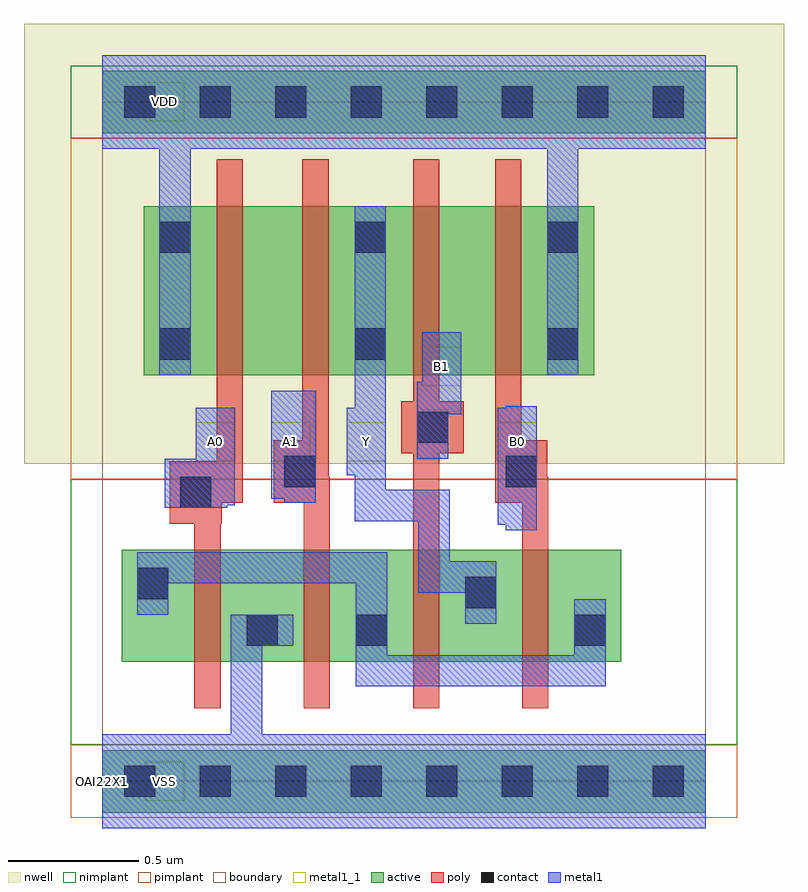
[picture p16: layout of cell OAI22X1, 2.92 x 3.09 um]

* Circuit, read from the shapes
.subckt OAI22X1 A0 A1 B0 B1 VDD VSS Y
M1 VSS A0 n1 VSS nfet w=0.43u l=0.1u
M2 n1 A1 VSS VSS nfet w=0.43u l=0.1u
M3 Y B1 n1 VSS nfet w=0.43u l=0.1u
M4 n1 B0 Y VSS nfet w=0.43u l=0.1u
M5 n2 A0 VDD VDD pfet w=0.65u l=0.1u
M6 Y A1 n2 VDD pfet w=0.65u l=0.1u
M7 n3 B1 Y VDD pfet w=0.65u l=0.1u
M8 VDD B0 n3 VDD pfet w=0.65u l=0.1u
.ends

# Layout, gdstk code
import gdstk
lib = gdstk.Library(unit=1e-6, precision=5e-10)
def R(c, l, rs):  # rectangles x0, y0, x1, y1
    for r in rs: c.add(gdstk.rectangle(r[:2], r[2:], *l))
def A(c, l, x, y, w, h, nx, ny, dx, dy):  # array of equal rectangles
    R(c, l, [(x+i*dx, y+j*dy, x+i*dx+w, y+j*dy+h) for i in range(nx) for j in range(ny)])
active = (1, 0)
nwell = (2, 0)
poly = (3, 0)
nimplant = (4, 0)
pimplant = (5, 0)
contact = (6, 0)
metal1 = (7, 0)
metal1_1 = (7, 1)
boundary = (62, 0)

oai22x1 = lib.new_cell('OAI22X1')
R(oai22x1, active, [(0,-0.12,2.32,0.12), (0.075,0.46,1.995,0.89), (0.16,1.56,1.89,2.21), (0,2.49,2.32,2.73)])
R(oai22x1, nwell, [(-0.3,1.22,2.62,2.91)])
R(oai22x1, poly, [(0.355,0.28,0.455,0.99), (0.775,0.28,0.875,1.07), (1.195,0.28,1.295,1.26), (1.615,0.28,1.715,1.07), (0.26,0.99,0.46,1.07), (0.26,1.07,0.54,1.23), (0.66,1.07,0.875,1.17), (1.51,1.07,1.715,1.17), (0.66,1.17,0.87,1.31), (1.51,1.17,1.71,1.31), (0.44,1.23,0.54,2.39), (1.15,1.26,1.39,1.46), (0.77,1.31,0.87,2.39), (1.51,1.31,1.61,2.39), (1.195,1.46,1.295,2.39)])
R(oai22x1, nimplant, [(-0.12,0.14,2.44,1.16), (-0.12,2.47,2.44,2.75)])
R(oai22x1, pimplant, [(-0.12,-0.14,2.44,0.14), (-0.12,1.16,2.44,2.47)])
A(oai22x1, contact, 0.085, -0.06, 0.12, 0.12, 8, 2, 0.29, 2.61)
R(oai22x1, contact, [(0.555,0.52,0.675,0.64), (0.975,0.52,1.095,0.64), (1.815,0.52,1.935,0.64), (1.395,0.665,1.515,0.785), (0.135,0.7,0.255,0.82), (0.3,1.05,0.42,1.17), (0.7,1.13,0.82,1.25), (1.55,1.13,1.67,1.25), (1.21,1.3,1.33,1.42), (0.22,1.62,0.34,1.74), (0.97,1.62,1.09,1.74), (1.71,1.62,1.83,1.74), (0.22,2.03,0.34,2.15), (0.97,2.03,1.09,2.15), (1.71,2.03,1.83,2.15)])
R(oai22x1, metal1, [(0,-0.18,2.32,0.18), (0.495,0.18,0.615,0.52), (0.975,0.365,1.935,0.485), (0.975,0.485,1.095,0.76), (1.815,0.485,1.935,0.7), (0.495,0.52,0.735,0.64), (1.395,0.605,1.515,0.725), (0.135,0.64,0.255,0.76), (1.215,0.725,1.515,0.845), (0.135,0.76,1.095,0.88), (1.215,0.845,1.335,1), (1.55,0.965,1.67,0.985), (1.52,0.985,1.67,1.435), (0.97,1,1.335,1.12), (0.24,1.05,0.48,1.06), (0.24,1.06,0.51,1.24), (0.7,1.07,0.82,1.085), (0.65,1.085,0.82,1.5), (0.97,1.12,1.09,1.175), (0.94,1.175,1.09,1.435), (0.36,1.24,0.51,1.435), (1.21,1.24,1.33,1.41), (1.21,1.41,1.38,1.535), (0.97,1.435,1.09,2.21), (1.55,1.435,1.67,1.44), (1.23,1.535,1.38,1.725), (0.22,1.56,0.34,2.43), (1.71,1.56,1.83,2.43), (0,2.43,2.32,2.79)])
A(oai22x1, metal1_1, 0.36, 1.23, 0.15, 0.15, 3, 1, 0.29, 0)
R(oai22x1, metal1_1, [(0.165,-0.075,0.315,0.075), (1.52,1.23,1.67,1.38), (1.23,1.52,1.38,1.67), (0.165,2.535,0.315,2.685)])
R(oai22x1, boundary, [(0,0,2.32,2.61)])
oai22x1.add(gdstk.Label('OAI22X1', (0,0), layer=63, texttype=0))
oai22x1.add(gdstk.Label('VSS', (0.24,0), layer=7, texttype=3))
oai22x1.add(gdstk.Label('VDD', (0.24,2.61), layer=7, texttype=3))
oai22x1.add(gdstk.Label('B1', (1.305,1.595), layer=7, texttype=3))
oai22x1.add(gdstk.Label('B0', (1.595,1.305), layer=7, texttype=3))
oai22x1.add(gdstk.Label('A0', (0.435,1.305), layer=7, texttype=3))
oai22x1.add(gdstk.Label('A1', (0.725,1.305), layer=7, texttype=3))
oai22x1.add(gdstk.Label('Y', (1.015,1.305), layer=7, texttype=3))

lib.write_gds('OAI22X1.gds')
